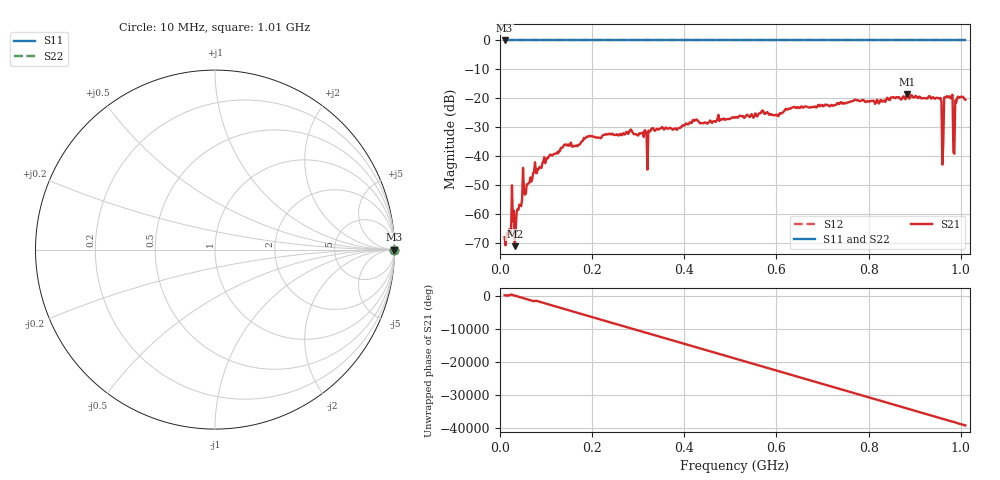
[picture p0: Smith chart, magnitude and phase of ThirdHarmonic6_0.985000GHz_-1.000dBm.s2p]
! 8/16/2025 7:42:30 AM
! C:\ANRITSUVNA\TEMP\TEMP.S2P
! CHANNEL.1
! TR.MEASUREMENT
! RAW.DATA
! RF.CORRECTION.OFF
! AVERAGING.OFF
! IF.BANDWIDTH: 5KHZ
! SWEEPTYPE:  FREQ.SWEEP(Linear)
! Reference Plane Port Info
! PORT:  PORT1  PORT2
! DISTANCE:  0  m  0  m
! TIME:  0  s  0  s
! PHASE.OFFSET:  0  deg.  0  deg.
! LOSS:  0  dB  0  dB
! REF.LOSS:  0  dB  0  dB
! REF.FREQ:  0  Hz  0  Hz
! Power Info
! POWER:  -20  dBm  -20  dBm
! EFF.POWER:  -20  dBm  -20  dBm
! SOURCE.ATTEN:  0  dB  0  dB
! TEST.ATTEN:  0  dB  0  dB
# GHZ S RI R 50.0
! FREQ.GHZ  S11RE  S11IM  S21RE  S21IM  S12RE  S12IM  S22RE  S22IM
!; PortSelection: Port_12
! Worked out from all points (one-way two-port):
!   501 points, 10 MHz to 1.01 GHz, reference 50 ohm
!   highest |S21| = -18.47 dB at 884 MHz (marker M1); lowest = -71.2 dB at 32 MHz (marker M2)
!   lowest |S11| = 0.0 dB at 10 MHz (marker M3)
!   |S11| at or under -10 dB: nowhere
!   |S22| runs from 0.0 to 0.0 dB; largest |S21 - S12| = 1.1
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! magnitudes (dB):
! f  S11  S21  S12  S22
! 10 MHz  0.0  -68.1  0.0  0.0
! 26 MHz  0.0  -50.1  0.0  0.0
! 32 MHz  0.0  -71.2  0.0  0.0
! 54 MHz  0.0  -53.4  0.0  0.0
! 76 MHz  0.0  -42.1  0.0  0.0
! 178 MHz  0.0  -34.9  0.0  0.0
! 284 MHz  0.0  -30.8  0.0  0.0
! 316 MHz  0.0  -31.4  0.0  0.0
! 344 MHz  0.0  -30.9  0.0  0.0
! 510 MHz  0.0  -26.7  0.0  0.0
! 678 MHz  0.0  -23.1  0.0  0.0
! 844 MHz  0.0  -20.5  0.0  0.0
! 884 MHz  0.0  -18.5  0.0  0.0
! 952 MHz  0.0  -20.0  0.0  0.0
! 958 MHz  0.0  -21.1  0.0  0.0
! 964 MHz  0.0  -19.7  0.0  0.0
! 968 MHz  0.0  -19.4  0.0  0.0
! 978 MHz  0.0  -20.0  0.0  0.0
! 982 MHz  0.0  -18.8  0.0  0.0
! 988 MHz  0.0  -20.8  0.0  0.0
! 992 MHz  0.0  -20.0  0.0  0.0
! 1.01 GHz  0.0  -20.5  0.0  0.0
